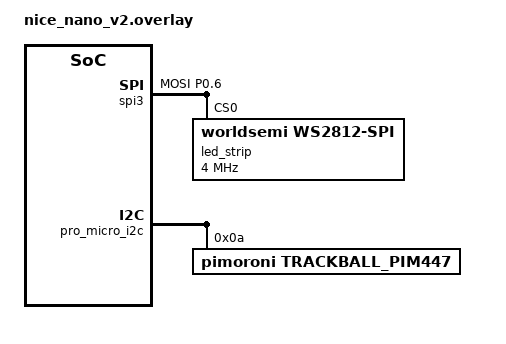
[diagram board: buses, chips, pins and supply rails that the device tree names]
#include <dt-bindings/led/led.h>

&pinctrl {
    spi3_default: spi3_default {
        group1 {
            psels = <NRF_PSEL(SPIM_MOSI, 0, 6)>;
        };
    };

    spi3_sleep: spi3_sleep {
        group1 {
            psels = <NRF_PSEL(SPIM_MOSI, 0, 6)>;
            low-power-enable;
        };
    };
};

&spi3 {
    compatible = "nordic,nrf-spim";
    status = "okay";

    pinctrl-0 = <&spi3_default>;
    pinctrl-1 = <&spi3_sleep>;
    pinctrl-names = "default", "sleep";

    led_strip: ws2812@0 {
        compatible = "worldsemi,ws2812-spi";

        /* SPI */
        reg = <0>; /* ignored, but necessary for SPI bindings */
        spi-max-frequency = <4000000>;

        /* WS2812 */
        chain-length = <10>; /* arbitrary; change at will */
        spi-one-frame = <0x70>;
        spi-zero-frame = <0x40>;

        color-mapping = <LED_COLOR_ID_GREEN LED_COLOR_ID_RED LED_COLOR_ID_BLUE>;
    };
 };

&pro_micro_i2c {
	status = "okay";
	trackball_pim447@a {
		compatible = "pimoroni,trackball_pim447";
		reg = <0xa>;
		label = "TRACKBALL_PIM447";
		move-factor = <2>;      // Increase pointer velocity (default: 1)
		invert-move-x;          // Invert pointer X axis (left is right, and vice versa)
		invert-move-y;          // Invert pointer Y axis (up is down, and vice versa)
		button = <1>;           // Send right-click when pressing the ball (default: 0, ie. left-click)
		swap-axes;              // Swap X and Y axes (horizontal is vertical, and vice versa)
		scroll-divisor = <1>;   // Increase wheel velocity (default: 2)
		invert-scroll-x;        // Invert wheel X axis (left is right, and vice versa)
		invert-scroll-y;        // Invert wheel Y axis (up is down, and vice versa)
		mode = <1>;             // Act as mouse wheels at startup (default: PIM447_MOVE for a pointer)
    };
};

&led_strip {
    /* LED 스트립에 대한 추가 설정이 필요하다면 여기에 작성 */
};

/ {
    chosen {
        zmk,underglow = &led_strip;
    };
};
